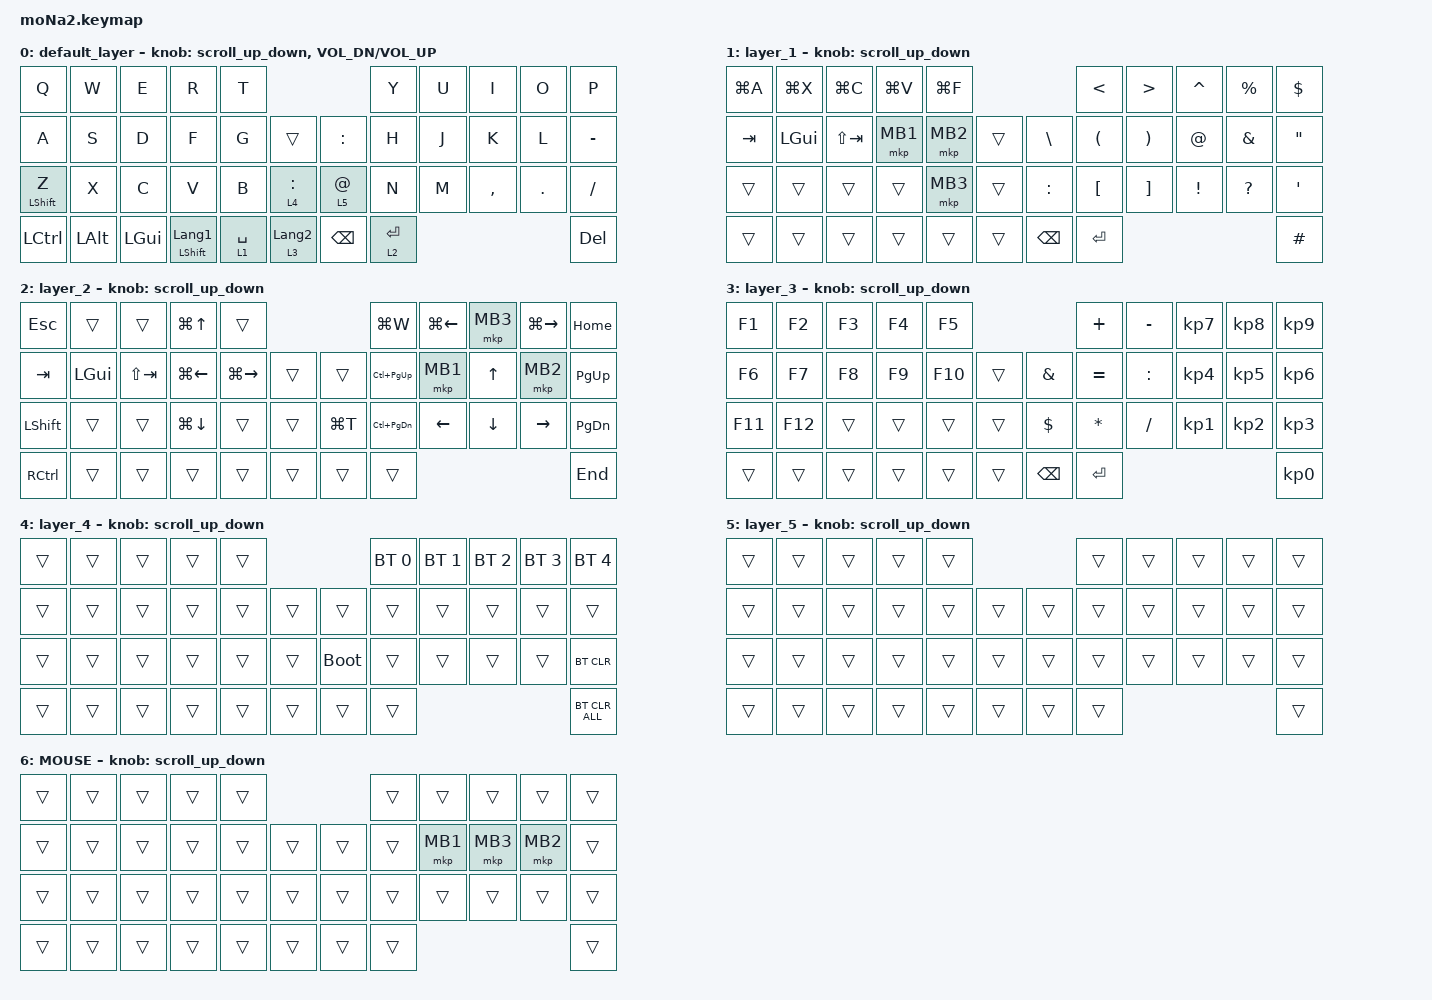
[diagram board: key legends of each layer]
#include <behaviors.dtsi>
#include <dt-bindings/zmk/bt.h>
#include <dt-bindings/zmk/keys.h>
#include <dt-bindings/zmk/pointing.h>

#define ZMK_POINTING_DEFAULT_SCRL_VAL 100
#define MOUSE 6

&mt {
    flavor = "balanced";
    quick-tap-ms = <0>;
};

/ {
    combos { compatible = "zmk,combos"; };

    macros {
        to_layer_0: to_layer_0 {
            compatible = "zmk,behavior-macro-one-param";
            #binding-cells = <1>;
            bindings = <&to 0 &macro_param_1to1 &kp MACRO_PLACEHOLDER>;
            label = "TO_LAYER_0";
        };
    };

    behaviors {
        lt_to_layer_0: lt_to_layer_0 {
            compatible = "zmk,behavior-hold-tap";
            label = "LAYER_TAP_TO_0";
            bindings = <&mo>, <&to_layer_0>;

            #binding-cells = <2>;
            tapping-term-ms = <200>;
        };

        scroll_up_down: behavior_sensor_rotate_mouse_wheel_up_down {
            compatible = "zmk,behavior-sensor-rotate";
            #sensor-binding-cells = <0>;
            bindings = <&msc SCRL_UP>, <&msc SCRL_DOWN>;

            tap-ms = <20>;
        };
    };

    keymap {
        compatible = "zmk,keymap";

        default_layer {
            bindings = <
&kp Q             &kp W         &kp E         &kp R                      &kp T                                           &kp Y        &kp U  &kp I      &kp O    &kp P
&kp A             &kp S         &kp D         &kp F                      &kp G        &trans              &kp COLON      &kp H        &kp J  &kp K      &kp L    &kp MINUS
&mt LEFT_SHIFT Z  &kp X         &kp C         &kp V                      &kp B        &lt 4 COLON         &lt 5 AT_SIGN  &kp N        &kp M  &kp COMMA  &kp DOT  &kp SLASH
&kp LCTRL         &kp LEFT_ALT  &kp LEFT_GUI  &mt LEFT_SHIFT LANGUAGE_1  &lt 1 SPACE  &lt 3 LANGUAGE_2    &kp BACKSPACE  &lt 2 ENTER                             &kp DEL
            >;

            sensor-bindings =
                <&scroll_up_down>,
                <&inc_dec_kp C_VOL_DN C_VOL_UP>;
        };

        layer_1 {
            bindings = <
&kp LG(A)  &kp LG(X)     &kp LG(C)    &kp LG(V)  &kp LG(F)                           &kp LESS_THAN         &kp GREATER_THAN       &kp CARET        &kp PERCENT    &kp DOLLAR
&kp TAB    &kp LEFT_GUI  &kp LS(TAB)  &mkp MB1   &mkp MB2   &trans    &kp BACKSLASH  &kp LEFT_PARENTHESIS  &kp RIGHT_PARENTHESIS  &kp AT_SIGN      &kp AMPERSAND  &kp DOUBLE_QUOTES
&trans     &trans        &trans       &trans     &mkp MB3   &trans    &kp COLON      &kp LEFT_BRACKET      &kp RIGHT_BRACKET      &kp EXCLAMATION  &kp QUESTION   &kp SQT
&trans     &trans        &trans       &trans     &trans     &trans    &kp BACKSPACE  &kp ENTER                                                                    &kp HASH
            >;

            sensor-bindings = <&scroll_up_down>;
        };

        layer_2 {
            bindings = <
&kp ESCAPE      &trans        &trans       &kp LG(UP_ARROW)    &trans                                    &kp LG(W)          &kp LG(LEFT_ARROW)  &mkp MB3        &kp LG(RIGHT_ARROW)  &kp HOME
&kp TAB         &kp LEFT_GUI  &kp LS(TAB)  &kp LG(LEFT_ARROW)  &kp LG(RIGHT_ARROW)  &trans    &trans     &kp LC(PAGE_UP)    &mkp MB1            &kp UP_ARROW    &mkp MB2             &kp PAGE_UP
&kp LEFT_SHIFT  &trans        &trans       &kp LG(DOWN_ARROW)  &trans               &trans    &kp LG(T)  &kp LC(PAGE_DOWN)  &kp LEFT_ARROW      &kp DOWN_ARROW  &kp RIGHT_ARROW      &kp PAGE_DOWN
&kp RCTRL       &trans        &trans       &trans              &trans               &trans    &trans     &trans                                                                      &kp END
            >;

            sensor-bindings = <&scroll_up_down>;
        };

        layer_3 {
            bindings = <
&kp F1   &kp F2   &kp F3  &kp F4  &kp F5                            &kp PLUS      &kp MINUS  &kp KP_NUMBER_7  &kp KP_NUMBER_8  &kp KP_NUMBER_9
&kp F6   &kp F7   &kp F8  &kp F9  &kp F10  &trans    &kp AMPERSAND  &kp EQUAL     &kp COLON  &kp KP_NUMBER_4  &kp KP_NUMBER_5  &kp KP_NUMBER_6
&kp F11  &kp F12  &trans  &trans  &trans   &trans    &kp DOLLAR     &kp ASTERISK  &kp SLASH  &kp KP_NUMBER_1  &kp KP_NUMBER_2  &kp KP_NUMBER_3
&trans   &trans   &trans  &trans  &trans   &trans    &kp BACKSPACE  &kp ENTER                                                  &kp KP_NUMBER_0
            >;

            sensor-bindings = <&scroll_up_down>;
        };

        layer_4 {
            bindings = <
&trans  &trans  &trans  &trans  &trans                         &bt BT_SEL 0  &bt BT_SEL 1  &bt BT_SEL 2  &bt BT_SEL 3  &bt BT_SEL 4
&trans  &trans  &trans  &trans  &trans  &trans    &trans       &trans        &trans        &trans        &trans        &trans
&trans  &trans  &trans  &trans  &trans  &trans    &bootloader  &trans        &trans        &trans        &trans        &bt BT_CLR
&trans  &trans  &trans  &trans  &trans  &trans    &trans       &trans                                                  &bt BT_CLR_ALL
            >;

            sensor-bindings = <&scroll_up_down>;
        };

        layer_5 {
            bindings = <
&trans  &trans  &trans  &trans  &trans                    &trans  &trans  &trans  &trans  &trans
&trans  &trans  &trans  &trans  &trans  &trans    &trans  &trans  &trans  &trans  &trans  &trans
&trans  &trans  &trans  &trans  &trans  &trans    &trans  &trans  &trans  &trans  &trans  &trans
&trans  &trans  &trans  &trans  &trans  &trans    &trans  &trans                          &trans
            >;

            sensor-bindings = <&scroll_up_down>;
        };

        MOUSE {
            bindings = <
&trans  &trans  &trans  &trans  &trans                    &trans  &trans    &trans    &trans    &trans
&trans  &trans  &trans  &trans  &trans  &trans    &trans  &trans  &mkp MB1  &mkp MB3  &mkp MB2  &trans
&trans  &trans  &trans  &trans  &trans  &trans    &trans  &trans  &trans    &trans    &trans    &trans
&trans  &trans  &trans  &trans  &trans  &trans    &trans  &trans                                &trans
            >;

            sensor-bindings = <&scroll_up_down>;
        };
    };
};
